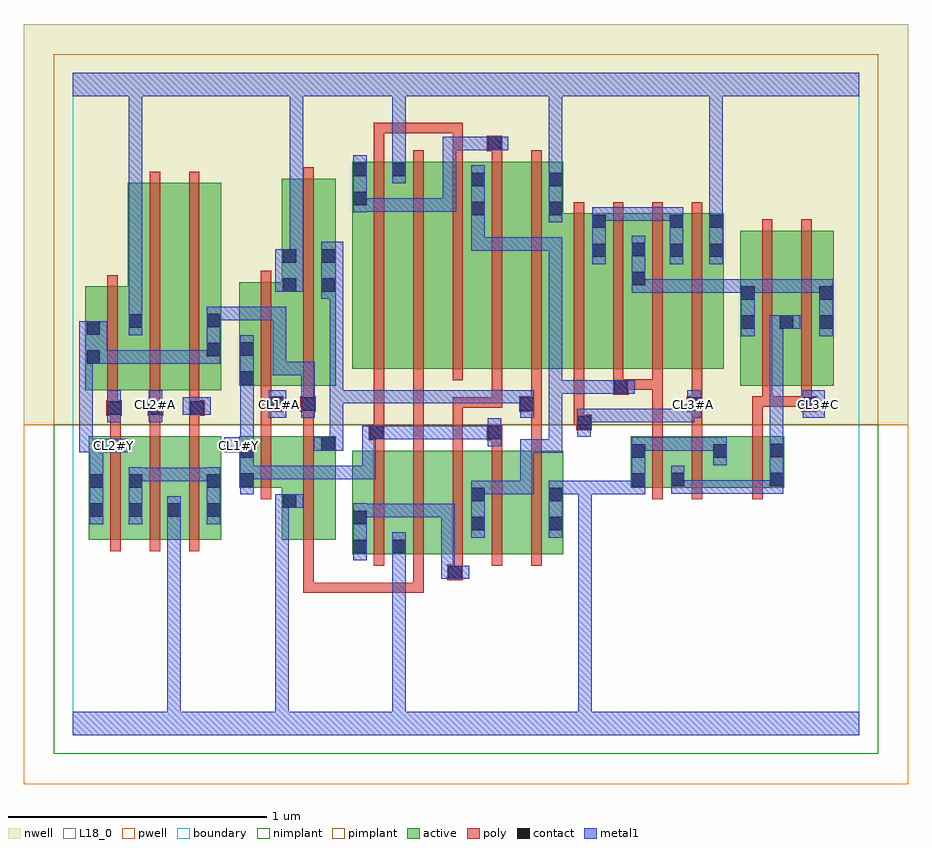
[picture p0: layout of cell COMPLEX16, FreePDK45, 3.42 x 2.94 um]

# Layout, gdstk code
import gdstk
lib = gdstk.Library(unit=1e-6, precision=1e-09)
def R(c, l, rs):  # rectangles x0, y0, x1, y1
    for r in rs: c.add(gdstk.rectangle(r[:2], r[2:], *l))
def A(c, l, x, y, w, h, nx, ny, dx, dy):  # array of equal rectangles
    R(c, l, [(x+i*dx, y+j*dy, x+i*dx+w, y+j*dy+h) for i in range(nx) for j in range(ny)])
active = (1, 0)
pwell = (2, 0)
nwell = (3, 0)
nimplant = (4, 0)
pimplant = (5, 0)
poly = (9, 0)
contact = (10, 0)
metal1 = (11, 0)
L18_0 = (18, 0)
boundary = (235, 0)

complex16 = lib.new_cell('COMPLEX16')
R(complex16, active, [(1.08,0.7,1.292,1.1), (1.08,0.7,1.14,0.948), (1.232,0.7,1.412,1.1), (1.232,0.7,1.292,0.96), (1.412,0.7,1.596,1.1), (1.536,0.7,1.716,1.1), (1.716,0.7,1.896,1.1), (0.062,0.756,0.274,1.156), (0.062,0.756,0.122,1.156), (0.214,0.756,0.274,1.156), (0.214,0.756,0.422,1.156), (0.362,0.756,0.574,1.156), (0.362,0.756,0.422,1.156), (0.514,0.756,0.574,1.156), (0.808,0.756,1.016,1.156), (0.956,0.756,1.016,1.156), (1.536,0.756,1.596,0.96), (1.836,0.756,1.896,1.1), (0.808,0.876,0.868,0.956), (0.644,0.956,0.704,1.156), (0.644,0.956,0.868,1.156), (2.156,0.956,2.216,1.156), (2.156,0.956,2.368,1.156), (2.308,0.956,2.368,1.156), (2.308,0.956,2.532,1.156), (2.472,0.956,2.532,1.156), (2.472,0.956,2.75,1.156), (2.69,0.956,2.75,1.156), (0.05,1.334,0.274,1.734), (0.05,1.334,0.11,1.644), (0.214,1.334,0.394,2.134), (0.394,1.334,0.574,2.134), (0.514,1.334,0.574,2.044), (0.644,1.35,0.868,1.75), (0.644,1.35,0.704,1.644), (0.808,1.35,1.016,2.15), (0.956,1.35,1.016,2.15), (2.58,1.35,2.64,1.844), (2.58,1.35,2.788,1.95), (2.728,1.35,2.94,1.95), (2.728,1.35,2.788,1.844), (2.88,1.35,2.94,1.95), (1.08,1.416,1.14,2.216), (1.08,1.416,1.292,2.216), (1.232,1.416,1.412,2.216), (1.412,1.416,1.596,2.216), (1.536,1.416,1.596,2.216), (1.536,1.416,1.716,2.216), (1.716,1.416,1.896,2.216), (1.836,1.416,2.064,2.016), (1.836,1.416,1.896,2.216), (2.004,1.416,2.064,2.016), (2.004,1.416,2.216,2.016), (2.156,1.416,2.364,2.016), (2.156,1.416,2.216,1.906), (2.304,1.416,2.364,2.016), (2.304,1.416,2.516,2.016), (2.456,1.416,2.516,2.016), (0.214,1.472,0.274,2.128), (0.808,1.472,0.868,2.15), (1.232,1.65,1.292,2.216)])
R(complex16, pwell, [(-0.188,-0.188,3.228,1.2)])
R(complex16, nwell, [(-0.188,1.2,3.228,2.748)])
R(complex16, nimplant, [(-0.072,-0.072,3.112,1.2)])
R(complex16, pimplant, [(-0.072,1.2,3.112,2.632)])
A(complex16, poly, 1.164, 0.656, 0.04, 0.488, 5, 1, 0.152, 0)
A(complex16, poly, 0.146, 0.712, 0.04, 0.488, 3, 1, 0.152, 0)
A(complex16, poly, 0.146, 1.16, 0.04, 0.114, 3, 1, 0.152, 0)
A(complex16, poly, 0.13, 1.234, 0.06, 0.06, 3, 1, 0.16, 0)
A(complex16, poly, 1.164, 1.372, 0.04, 0.888, 5, 1, 0.152, 0)
A(complex16, poly, 1.936, 1.372, 0.04, 0.688, 4, 1, 0.152, 0)
R(complex16, poly, [(0.892,0.55,0.932,0.59), (0.892,0.55,0.932,0.59), (0.892,0.55,0.932,0.59), (0.892,0.55,0.932,0.752), (0.892,0.55,1.038,0.59), (0.998,0.55,1.038,0.59), (0.998,0.55,1.204,0.59), (1.164,0.55,1.356,0.59), (1.164,0.55,1.204,0.59), (1.164,0.55,1.204,0.59), (1.164,0.55,1.204,0.59), (1.316,0.55,1.356,0.59), (1.316,0.55,1.356,0.696), (1.448,0.6,1.508,0.66), (1.468,0.62,1.508,0.696), (0.892,0.712,0.932,1.2), (0.728,0.912,0.768,1.2), (2.24,0.912,2.28,1.2), (2.392,0.912,2.432,1.2), (2.626,0.912,2.666,1.2), (1.164,1.104,1.204,1.18), (1.316,1.104,1.356,1.18), (1.468,1.104,1.508,1.306), (1.62,1.104,1.66,1.18), (1.772,1.104,1.812,1.29), (1.144,1.14,1.204,1.2), (1.316,1.14,1.356,1.18), (1.316,1.14,1.356,1.18), (1.316,1.14,1.356,1.18), (1.316,1.14,1.356,1.412), (1.6,1.14,1.66,1.2), (0.728,1.16,0.768,1.29), (0.892,1.16,0.932,1.29), (1.164,1.16,1.204,1.2), (1.164,1.16,1.204,1.2), (1.164,1.16,1.204,1.412), (2.24,1.16,2.28,1.376), (2.392,1.16,2.432,1.29), (2.626,1.16,2.666,1.31), (1.946,1.178,2.006,1.238), (1.936,1.198,1.976,1.412), (1.936,1.198,1.986,1.238), (1.946,1.198,1.986,1.238), (0.146,1.234,0.186,1.274), (0.146,1.234,0.186,1.274), (0.298,1.234,0.338,1.274), (0.298,1.234,0.338,1.274), (0.45,1.234,0.49,1.274), (0.45,1.234,0.49,1.274), (0.728,1.25,0.814,1.31), (0.88,1.25,0.94,1.31), (0.892,1.25,0.932,1.29), (0.892,1.25,0.932,1.29), (1.726,1.25,1.812,1.31), (1.772,1.25,1.812,1.29), (1.772,1.25,1.812,1.29), (2.372,1.25,2.432,1.31), (2.816,1.25,2.876,1.31), (0.134,1.254,0.174,1.33), (0.298,1.254,0.338,1.33), (0.45,1.254,0.49,1.33), (1.468,1.266,1.508,1.306), (1.468,1.266,1.522,1.306), (1.482,1.266,1.522,1.306), (1.482,1.266,1.522,1.306), (1.482,1.266,1.522,1.306), (1.482,1.266,1.66,1.306), (1.62,1.266,1.66,1.306), (1.62,1.266,1.66,1.412), (0.728,1.27,0.768,1.346), (0.728,1.27,0.768,1.31), (0.728,1.27,0.768,1.31), (0.892,1.27,0.932,1.346), (1.772,1.27,1.812,1.412), (2.392,1.27,2.432,1.31), (2.392,1.27,2.432,1.31), (2.392,1.27,2.432,1.412), (2.626,1.27,2.666,1.31), (2.626,1.27,2.666,1.31), (2.626,1.27,2.704,1.31), (2.664,1.27,2.704,1.346), (2.664,1.27,2.856,1.31), (2.664,1.27,2.704,1.31), (2.664,1.27,2.704,1.31), (2.816,1.27,2.856,1.346), (0.134,1.29,0.174,1.778), (0.298,1.29,0.338,2.178), (0.45,1.29,0.49,2.178), (0.728,1.306,0.768,1.794), (0.892,1.306,0.932,2.194), (2.664,1.306,2.704,1.994), (2.816,1.306,2.856,1.994), (2.088,1.316,2.148,1.376), (2.088,1.336,2.128,1.412), (2.108,1.336,2.28,1.376), (2.24,1.336,2.28,1.412), (2.24,1.336,2.28,1.376), (2.24,1.336,2.28,1.376), (2.24,1.336,2.28,1.376), (2.24,1.336,2.28,1.376), (2.24,1.336,2.28,1.376), (1.164,2.22,1.204,2.366), (1.468,2.22,1.508,2.366), (1.62,2.22,1.66,2.296), (1.6,2.256,1.66,2.316), (1.164,2.326,1.204,2.366), (1.164,2.326,1.31,2.366), (1.27,2.326,1.31,2.366), (1.27,2.326,1.31,2.366), (1.27,2.326,1.31,2.366), (1.27,2.326,1.416,2.366), (1.376,2.326,1.416,2.366), (1.376,2.326,1.508,2.366), (1.468,2.326,1.508,2.366)])
A(complex16, contact, 0.134, 1.238, 0.052, 0.052, 3, 1, 0.16, 0)
R(complex16, contact, [(1.452,0.604,1.504,0.656), (1.084,0.704,1.136,0.756), (1.236,0.704,1.288,0.756), (1.54,0.792,1.592,0.844), (1.84,0.792,1.892,0.844), (1.084,0.816,1.136,0.868), (0.066,0.844,0.118,0.896), (0.218,0.844,0.27,0.896), (0.366,0.844,0.418,0.896), (0.518,0.844,0.57,0.896), (0.812,0.88,0.864,0.932), (1.54,0.904,1.592,0.956), (1.84,0.904,1.892,0.956), (0.066,0.956,0.118,1.008), (0.218,0.956,0.27,1.008), (0.518,0.956,0.57,1.008), (0.648,0.96,0.7,1.012), (2.16,0.96,2.212,1.012), (2.312,0.962,2.364,1.014), (2.694,0.962,2.746,1.014), (0.648,1.072,0.7,1.124), (2.16,1.072,2.212,1.124), (2.476,1.072,2.528,1.124), (2.694,1.074,2.746,1.126), (0.96,1.1,1.012,1.152), (1.148,1.144,1.2,1.196), (1.604,1.144,1.656,1.196), (1.95,1.182,2.002,1.234), (0.758,1.254,0.81,1.306), (0.884,1.254,0.936,1.306), (1.73,1.254,1.782,1.306), (2.376,1.254,2.428,1.306), (2.82,1.254,2.872,1.306), (2.092,1.32,2.144,1.372), (0.648,1.354,0.7,1.406), (0.054,1.436,0.106,1.488), (0.518,1.464,0.57,1.516), (0.648,1.466,0.7,1.518), (0.054,1.548,0.106,1.6), (2.584,1.57,2.636,1.622), (2.732,1.57,2.784,1.622), (2.884,1.57,2.936,1.622), (0.218,1.574,0.27,1.626), (0.518,1.576,0.57,1.628), (2.584,1.682,2.636,1.734), (2.884,1.682,2.936,1.734), (0.812,1.714,0.864,1.766), (0.96,1.714,1.012,1.766), (2.16,1.738,2.212,1.79), (0.812,1.826,0.864,1.878), (0.96,1.826,1.012,1.878), (2.008,1.848,2.06,1.9), (2.308,1.848,2.36,1.9), (2.46,1.848,2.512,1.9), (2.16,1.85,2.212,1.902), (2.008,1.96,2.06,2.012), (2.308,1.96,2.36,2.012), (2.46,1.96,2.512,2.012), (1.54,2.01,1.592,2.062), (1.84,2.01,1.892,2.062), (1.084,2.048,1.136,2.1), (1.54,2.122,1.592,2.174), (1.84,2.122,1.892,2.174), (1.084,2.16,1.136,2.212), (1.236,2.16,1.288,2.212), (1.604,2.26,1.656,2.312)])
R(complex16, metal1, [(0,0,3.04,0.092), (0.366,0.04,0.418,0.092), (0.366,0.04,0.418,0.092), (0.366,0.04,0.418,0.092), (0.366,0.04,0.418,0.092), (0.366,0.04,0.418,0.092), (0.366,0.04,0.418,0.092), (0.366,0.04,0.418,0.092), (0.366,0.04,0.418,0.092), (0.366,0.04,0.418,0.092), (0.366,0.04,0.418,0.092), (0.366,0.04,0.418,0.092), (0.366,0.04,0.418,0.092), (0.366,0.04,0.418,0.868), (0.784,0.04,0.836,0.092), (0.784,0.04,0.836,0.092), (0.784,0.04,0.836,0.092), (0.784,0.04,0.836,0.092), (0.784,0.04,0.836,0.092), (0.784,0.04,0.836,0.092), (0.784,0.04,0.836,0.932), (1.236,0.04,1.288,0.092), (1.236,0.04,1.288,0.092), (1.236,0.04,1.288,0.092), (1.236,0.04,1.288,0.092), (1.236,0.04,1.288,0.092), (1.236,0.04,1.288,0.092), (1.236,0.04,1.288,0.092), (1.236,0.04,1.288,0.092), (1.236,0.04,1.288,0.092), (1.236,0.04,1.288,0.092), (1.236,0.04,1.288,0.092), (1.236,0.04,1.288,0.092), (1.236,0.04,1.288,0.728), (1.954,0.04,2.006,0.092), (1.954,0.04,2.006,0.092), (1.954,0.04,2.006,0.092), (1.954,0.04,2.006,0.092), (1.954,0.04,2.006,0.092), (1.954,0.04,2.006,0.092), (1.954,0.04,2.006,0.092), (1.954,0.04,2.006,0.092), (1.954,0.04,2.006,0.092), (1.954,0.04,2.006,0.092), (1.954,0.04,2.006,0.092), (1.954,0.04,2.006,0.092), (1.954,0.04,2.006,0.984), (1.424,0.604,1.476,0.656), (1.424,0.604,1.476,0.656), (1.424,0.604,1.532,0.656), (1.424,0.604,1.476,0.894), (1.084,0.676,1.136,0.896), (1.236,0.676,1.288,0.784), (1.54,0.764,1.592,0.984), (1.84,0.764,1.892,0.984), (0.066,0.816,0.118,1.036), (0.218,0.816,0.27,1.036), (0.366,0.816,0.418,0.924), (0.518,0.816,0.57,1.036), (1.084,0.842,1.156,0.894), (1.104,0.842,1.156,0.894), (1.104,0.842,1.338,0.894), (1.286,0.842,1.338,0.894), (1.286,0.842,1.338,0.894), (1.286,0.842,1.338,0.894), (1.286,0.842,1.476,0.894), (1.424,0.842,1.476,0.894), (1.424,0.842,1.476,0.894), (1.424,0.842,1.476,0.894), (0.784,0.88,0.836,0.932), (0.784,0.88,0.836,0.932), (0.784,0.88,0.836,0.932), (0.784,0.88,0.836,0.932), (0.784,0.88,0.836,0.932), (0.784,0.88,0.836,0.932), (0.784,0.88,0.892,0.932), (0.648,0.932,0.7,1.152), (1.54,0.932,1.592,0.984), (1.54,0.932,1.592,0.984), (1.54,0.932,1.782,0.984), (1.73,0.932,1.782,0.984), (1.73,0.932,1.782,1.144), (1.84,0.932,2.006,0.984), (1.954,0.932,2.006,0.984), (1.954,0.932,2.006,0.984), (1.954,0.932,2.006,0.984), (1.954,0.932,2.006,0.984), (1.954,0.932,2.006,0.984), (1.954,0.932,2.006,0.984), (1.954,0.932,2.006,0.984), (1.954,0.932,2.006,0.984), (1.954,0.932,2.006,0.984), (1.954,0.932,2.17,0.984), (2.118,0.932,2.17,0.984), (2.118,0.932,2.212,0.984), (2.16,0.932,2.212,1.152), (2.312,0.934,2.364,1.042), (2.312,0.934,2.414,0.986), (2.362,0.934,2.414,0.986), (2.362,0.934,2.636,0.986), (2.584,0.934,2.636,0.986), (2.584,0.934,2.636,0.986), (2.584,0.934,2.636,0.986), (2.584,0.934,2.636,0.986), (2.584,0.934,2.636,0.986), (2.584,0.934,2.746,0.986), (2.694,0.934,2.746,0.986), (2.694,0.934,2.746,0.986), (2.694,0.934,2.746,1.154), (0.218,0.982,0.27,1.034), (0.218,0.982,0.27,1.034), (0.218,0.982,0.46,1.034), (0.408,0.982,0.46,1.034), (0.408,0.982,0.46,1.034), (0.408,0.982,0.46,1.034), (0.408,0.982,0.57,1.034), (0.066,0.984,0.118,1.146), (0.648,0.99,0.7,1.042), (0.648,0.99,0.7,1.042), (0.648,0.99,0.874,1.042), (0.822,0.99,0.874,1.042), (0.822,0.99,0.874,1.042), (0.822,0.99,0.874,1.042), (0.822,0.99,1.026,1.042), (0.974,0.99,1.026,1.042), (0.974,0.99,1.026,1.042), (0.974,0.99,1.026,1.042), (0.974,0.99,1.172,1.042), (1.12,0.99,1.172,1.042), (1.12,0.99,1.172,1.196), (2.476,1.044,2.528,1.152), (1.73,1.092,1.782,1.144), (1.73,1.092,1.782,1.144), (1.73,1.092,1.782,1.144), (1.73,1.092,1.892,1.144), (1.84,1.092,1.892,1.144), (1.84,1.092,1.892,1.372), (0.026,1.094,0.078,1.488), (0.026,1.094,0.214,1.146), (0.586,1.094,0.7,1.152), (0.648,1.1,0.7,1.152), (0.648,1.1,0.7,1.378), (0.932,1.1,1.046,1.152), (0.994,1.1,1.046,1.334), (2.16,1.1,2.28,1.152), (2.228,1.1,2.28,1.152), (2.228,1.1,2.39,1.152), (2.338,1.1,2.39,1.152), (2.338,1.1,2.39,1.152), (2.338,1.1,2.39,1.152), (2.338,1.1,2.528,1.152), (2.694,1.102,2.746,1.278), (1.604,1.116,1.656,1.224), (1.12,1.144,1.172,1.196), (1.12,1.144,1.172,1.196), (1.12,1.144,1.172,1.196), (1.12,1.144,1.172,1.196), (1.12,1.144,1.228,1.196), (1.176,1.144,1.366,1.196), (1.314,1.144,1.366,1.196), (1.314,1.144,1.366,1.196), (1.314,1.144,1.366,1.196), (1.314,1.144,1.476,1.196), (1.424,1.144,1.476,1.196), (1.424,1.144,1.476,1.196), (1.424,1.144,1.476,1.196), (1.424,1.144,1.656,1.196), (1.604,1.144,1.656,1.196), (1.604,1.144,1.656,1.196), (1.95,1.154,2.002,1.262), (0.134,1.21,0.186,1.334), (0.294,1.21,0.346,1.334), (1.95,1.21,2.002,1.262), (1.95,1.21,2.002,1.262), (1.95,1.21,2.17,1.262), (2.118,1.21,2.17,1.262), (2.118,1.21,2.17,1.262), (2.118,1.21,2.17,1.262), (2.118,1.21,2.28,1.262), (2.228,1.21,2.28,1.262), (2.228,1.21,2.402,1.262), (2.35,1.21,2.402,1.278), (0.758,1.226,0.826,1.334), (0.884,1.226,0.936,1.444), (1.73,1.226,1.782,1.334), (2.35,1.226,2.426,1.278), (2.374,1.226,2.428,1.334), (2.694,1.226,2.746,1.334), (2.82,1.226,2.906,1.334), (0.426,1.238,0.534,1.306), (0.994,1.282,1.046,1.334), (0.994,1.282,1.046,1.334), (0.994,1.282,1.046,1.334), (0.994,1.282,1.156,1.334), (0.994,1.282,1.046,1.738), (1.104,1.282,1.156,1.334), (1.104,1.282,1.156,1.334), (1.104,1.282,1.156,1.334), (1.104,1.282,1.338,1.334), (1.286,1.282,1.338,1.334), (1.286,1.282,1.338,1.334), (1.286,1.282,1.338,1.334), (1.286,1.282,1.482,1.334), (1.43,1.282,1.482,1.334), (1.43,1.282,1.482,1.334), (1.43,1.282,1.482,1.334), (1.43,1.282,1.592,1.334), (1.54,1.282,1.592,1.334), (1.54,1.282,1.592,1.334), (1.54,1.282,1.592,1.334), (1.54,1.282,1.782,1.334), (1.73,1.282,1.782,1.334), (1.73,1.282,1.782,1.334), (2.694,1.282,2.746,1.622), (1.84,1.32,1.892,1.372), (1.84,1.32,1.892,1.372), (1.84,1.32,1.892,1.372), (1.84,1.32,2.06,1.372), (1.84,1.32,1.892,1.924), (2.008,1.32,2.06,1.372), (2.008,1.32,2.116,1.372), (2.064,1.32,2.172,1.372), (0.648,1.326,0.7,1.378), (0.648,1.326,0.7,1.378), (0.648,1.326,0.7,1.546), (0.774,1.392,0.826,1.444), (0.774,1.392,0.936,1.444), (0.774,1.392,0.826,1.656), (0.026,1.436,0.078,1.488), (0.026,1.436,0.078,1.488), (0.026,1.436,0.134,1.6), (0.082,1.436,0.134,1.488), (0.082,1.436,0.134,1.488), (0.082,1.436,0.308,1.488), (0.256,1.436,0.308,1.488), (0.256,1.436,0.308,1.488), (0.256,1.436,0.308,1.488), (0.256,1.436,0.418,1.488), (0.366,1.436,0.418,1.488), (0.366,1.436,0.418,1.488), (0.366,1.436,0.418,1.488), (0.366,1.436,0.57,1.488), (0.518,1.436,0.57,1.656), (2.584,1.542,2.636,1.762), (2.884,1.542,2.936,1.762), (0.218,1.546,0.27,1.654), (2.694,1.57,2.756,1.622), (2.704,1.57,2.756,1.622), (2.704,1.57,2.812,1.622), (0.218,1.602,0.27,2.52), (0.518,1.604,0.57,1.656), (0.518,1.604,0.57,1.656), (0.518,1.604,0.57,1.656), (0.518,1.604,0.57,1.656), (0.518,1.604,0.826,1.656), (0.774,1.604,0.826,1.656), (0.774,1.604,0.826,1.656), (0.774,1.604,0.826,1.656), (0.774,1.604,0.826,1.656), (0.774,1.604,0.826,1.656), (0.96,1.686,1.046,1.906), (2.16,1.71,2.212,1.93), (2.16,1.71,2.28,1.762), (2.228,1.71,2.28,1.762), (2.228,1.71,2.402,1.762), (2.35,1.71,2.402,1.762), (2.35,1.71,2.402,1.762), (2.35,1.71,2.402,1.762), (2.35,1.71,2.636,1.762), (2.584,1.71,2.636,1.762), (2.584,1.71,2.636,1.762), (2.584,1.71,2.636,1.762), (2.584,1.71,2.636,1.762), (2.584,1.71,2.762,1.762), (2.71,1.71,2.762,1.762), (2.71,1.71,2.762,1.762), (2.71,1.71,2.762,1.762), (2.71,1.71,2.936,1.762), (2.884,1.71,2.936,1.762), (2.884,1.71,2.936,1.762), (0.784,1.714,0.892,1.878), (2.008,1.82,2.06,2.04), (2.308,1.82,2.36,2.04), (2.46,1.82,2.512,2.04), (0.84,1.826,0.892,1.878), (0.84,1.826,0.892,1.878), (0.84,1.826,0.892,1.878), (0.84,1.826,0.892,1.878), (0.84,1.826,0.892,2.52), (1.54,1.872,1.782,1.924), (1.54,1.872,1.592,2.034), (1.73,1.872,1.782,1.924), (1.73,1.872,1.782,1.924), (1.73,1.872,1.782,1.924), (1.73,1.872,1.892,1.924), (1.84,1.872,1.892,1.924), (1.54,1.982,1.592,2.034), (1.54,1.982,1.592,2.202), (1.84,1.982,1.892,2.202), (2.008,1.988,2.17,2.04), (2.118,1.988,2.17,2.04), (2.118,1.988,2.17,2.04), (2.118,1.988,2.17,2.04), (2.118,1.988,2.28,2.04), (2.228,1.988,2.28,2.04), (2.228,1.988,2.36,2.04), (2.46,1.988,2.512,2.04), (2.46,1.988,2.512,2.04), (2.46,1.988,2.512,2.52), (1.084,2.02,1.136,2.24), (1.084,2.022,1.156,2.074), (1.104,2.022,1.156,2.074), (1.104,2.022,1.338,2.074), (1.286,2.022,1.338,2.074), (1.286,2.022,1.338,2.074), (1.286,2.022,1.338,2.074), (1.286,2.022,1.482,2.074), (1.43,2.022,1.482,2.074), (1.43,2.022,1.482,2.312), (1.236,2.132,1.288,2.24), (1.84,2.15,1.892,2.202), (1.84,2.15,1.892,2.202), (1.84,2.15,1.892,2.202), (1.84,2.15,1.892,2.202), (1.84,2.15,1.892,2.202), (1.84,2.15,1.892,2.202), (1.84,2.15,1.892,2.202), (1.84,2.15,1.892,2.202), (1.84,2.15,1.892,2.52), (1.236,2.188,1.288,2.24), (1.236,2.188,1.288,2.24), (1.236,2.188,1.288,2.52), (1.43,2.26,1.482,2.312), (1.43,2.26,1.482,2.312), (1.43,2.26,1.482,2.312), (1.43,2.26,1.628,2.312), (1.576,2.26,1.628,2.312), (1.576,2.26,1.628,2.312), (1.576,2.26,1.628,2.312), (1.576,2.26,1.628,2.312), (1.576,2.26,1.684,2.312), (0,2.468,3.04,2.56), (0.218,2.468,0.27,2.52), (0.218,2.468,0.27,2.52), (0.218,2.468,0.27,2.52), (0.218,2.468,0.27,2.52), (0.218,2.468,0.27,2.52), (0.218,2.468,0.27,2.52), (0.218,2.468,0.27,2.52), (0.218,2.468,0.27,2.52), (0.84,2.468,0.892,2.52), (0.84,2.468,0.892,2.52), (0.84,2.468,0.892,2.52), (0.84,2.468,0.892,2.52), (1.236,2.468,1.288,2.52), (1.236,2.468,1.288,2.52), (1.236,2.468,1.288,2.52), (1.236,2.468,1.288,2.52), (1.236,2.468,1.288,2.52), (1.236,2.468,1.288,2.52), (2.46,2.468,2.512,2.52), (2.46,2.468,2.512,2.52), (2.46,2.468,2.512,2.52), (2.46,2.468,2.512,2.52), (2.46,2.468,2.512,2.52), (2.46,2.468,2.512,2.52), (2.46,2.468,2.512,2.52), (2.46,2.468,2.512,2.52), (2.46,2.468,2.512,2.52), (2.46,2.468,2.512,2.52)])
A(complex16, L18_0, 0.134, 1.254, 0.052, 0.052, 3, 1, 0.16, 0)
R(complex16, L18_0, [(0,0,3.04,0.092), (0.366,0.04,0.418,0.092), (0.366,0.04,0.418,0.092), (0.366,0.04,0.418,0.092), (0.366,0.04,0.418,0.092), (0.366,0.04,0.418,0.092), (0.366,0.04,0.418,0.092), (0.366,0.04,0.418,0.092), (0.366,0.04,0.418,0.092), (0.366,0.04,0.418,0.092), (0.366,0.04,0.418,0.092), (0.366,0.04,0.418,0.092), (0.366,0.04,0.418,0.092), (0.366,0.04,0.418,0.868), (0.784,0.04,0.836,0.092), (0.784,0.04,0.836,0.092), (0.784,0.04,0.836,0.092), (0.784,0.04,0.836,0.092), (0.784,0.04,0.836,0.092), (0.784,0.04,0.836,0.092), (0.784,0.04,0.836,0.932), (1.236,0.04,1.288,0.092), (1.236,0.04,1.288,0.092), (1.236,0.04,1.288,0.092), (1.236,0.04,1.288,0.092), (1.236,0.04,1.288,0.092), (1.236,0.04,1.288,0.092), (1.236,0.04,1.288,0.092), (1.236,0.04,1.288,0.092), (1.236,0.04,1.288,0.092), (1.236,0.04,1.288,0.092), (1.236,0.04,1.288,0.092), (1.236,0.04,1.288,0.092), (1.236,0.04,1.288,0.728), (1.954,0.04,2.006,0.092), (1.954,0.04,2.006,0.092), (1.954,0.04,2.006,0.092), (1.954,0.04,2.006,0.092), (1.954,0.04,2.006,0.092), (1.954,0.04,2.006,0.092), (1.954,0.04,2.006,0.092), (1.954,0.04,2.006,0.092), (1.954,0.04,2.006,0.092), (1.954,0.04,2.006,0.092), (1.954,0.04,2.006,0.092), (1.954,0.04,2.006,0.092), (1.954,0.04,2.006,0.984), (1.236,0.676,1.288,0.784), (1.84,0.764,1.892,0.984), (0.066,0.816,0.118,1.036), (0.366,0.816,0.418,0.924), (0.784,0.88,0.836,0.932), (0.784,0.88,0.836,0.932), (0.784,0.88,0.836,0.932), (0.784,0.88,0.836,0.932), (0.784,0.88,0.836,0.932), (0.784,0.88,0.836,0.932), (0.784,0.88,0.892,0.932), (0.648,0.932,0.7,1.152), (1.84,0.932,2.006,0.984), (1.954,0.932,2.006,0.984), (1.954,0.932,2.006,0.984), (1.954,0.932,2.006,0.984), (1.954,0.932,2.006,0.984), (1.954,0.932,2.006,0.984), (1.954,0.932,2.006,0.984), (1.954,0.932,2.006,0.984), (1.954,0.932,2.006,0.984), (1.954,0.932,2.006,0.984), (1.954,0.932,2.17,0.984), (2.118,0.932,2.17,0.984), (2.118,0.932,2.212,0.984), (2.16,0.932,2.212,1.152), (2.312,0.934,2.364,1.042), (2.312,0.934,2.414,0.986), (2.362,0.934,2.414,0.986), (2.362,0.934,2.636,0.986), (2.584,0.934,2.636,0.986), (2.584,0.934,2.636,0.986), (2.584,0.934,2.636,0.986), (2.584,0.934,2.636,0.986), (2.584,0.934,2.636,0.986), (2.584,0.934,2.746,0.986), (2.694,0.934,2.746,1.154), (2.694,0.934,2.746,0.986), (2.694,0.934,2.746,0.986), (0.066,0.984,0.118,1.146), (0.648,0.99,0.7,1.042), (0.648,0.99,0.7,1.042), (0.648,0.99,0.874,1.042), (0.822,0.99,0.874,1.042), (0.822,0.99,0.874,1.042), (0.822,0.99,0.874,1.042), (0.822,0.99,1.026,1.042), (0.974,0.99,1.026,1.042), (0.974,0.99,1.026,1.042), (0.974,0.99,1.026,1.042), (0.974,0.99,1.172,1.042), (1.12,0.99,1.172,1.042), (1.12,0.99,1.172,1.196), (2.476,1.044,2.528,1.152), (0.026,1.094,0.214,1.146), (0.026,1.094,0.078,1.488), (0.134,1.094,0.186,1.146), (0.586,1.094,0.7,1.152), (0.614,1.094,0.666,1.146), (0.648,1.1,0.7,1.152), (0.648,1.1,0.7,1.378), (2.16,1.1,2.28,1.152), (2.228,1.1,2.28,1.152), (2.228,1.1,2.39,1.152), (2.338,1.1,2.39,1.152), (2.338,1.1,2.39,1.152), (2.338,1.1,2.39,1.152), (2.338,1.1,2.528,1.152), (2.694,1.102,2.746,1.278), (1.604,1.116,1.656,1.224), (1.12,1.144,1.172,1.196), (1.12,1.144,1.172,1.196), (1.12,1.144,1.172,1.196), (1.12,1.144,1.172,1.196), (1.12,1.144,1.228,1.196), (1.176,1.144,1.366,1.196), (1.314,1.144,1.366,1.196), (1.314,1.144,1.366,1.196), (1.314,1.144,1.366,1.196), (1.314,1.144,1.476,1.196), (1.424,1.144,1.476,1.196), (1.424,1.144,1.476,1.196), (1.424,1.144,1.476,1.196), (1.424,1.144,1.656,1.196), (1.604,1.144,1.656,1.196), (1.604,1.144,1.656,1.196), (1.95,1.154,2.002,1.262), (0.134,1.21,0.186,1.334), (0.294,1.21,0.346,1.334), (1.95,1.21,2.002,1.262), (1.95,1.21,2.002,1.262), (1.95,1.21,2.17,1.262), (2.118,1.21,2.17,1.262), (2.118,1.21,2.17,1.262), (2.118,1.21,2.17,1.262), (2.118,1.21,2.28,1.262), (2.228,1.21,2.28,1.262), (2.228,1.21,2.402,1.262), (2.35,1.21,2.402,1.278), (0.758,1.226,0.826,1.334), (0.884,1.226,0.936,1.444), (2.35,1.226,2.426,1.278), (2.374,1.226,2.428,1.334), (2.694,1.226,2.746,1.334), (2.82,1.226,2.906,1.334), (0.426,1.238,0.534,1.306), (0.774,1.254,0.826,1.306), (2.374,1.254,2.426,1.306), (2.694,1.254,2.746,1.306), (2.854,1.254,2.906,1.306), (2.694,1.282,2.746,1.622), (0.648,1.326,0.7,1.546), (0.648,1.326,0.7,1.378), (0.648,1.326,0.7,1.378), (0.774,1.392,0.826,1.444), (0.774,1.392,0.936,1.444), (0.774,1.392,0.826,1.656), (0.026,1.436,0.078,1.488), (0.026,1.436,0.078,1.488), (0.026,1.436,0.134,1.6), (0.082,1.436,0.134,1.488), (0.082,1.436,0.134,1.488), (0.082,1.436,0.308,1.488), (0.256,1.436,0.308,1.488), (0.256,1.436,0.308,1.488), (0.256,1.436,0.308,1.488), (0.256,1.436,0.418,1.488), (0.366,1.436,0.418,1.488), (0.366,1.436,0.418,1.488), (0.366,1.436,0.418,1.488), (0.366,1.436,0.57,1.488), (0.518,1.436,0.57,1.656), (0.218,1.546,0.27,1.654), (2.694,1.57,2.756,1.622), (2.704,1.57,2.756,1.622), (2.704,1.57,2.812,1.622), (0.218,1.602,0.27,2.52), (0.518,1.604,0.57,1.656), (0.518,1.604,0.57,1.656), (0.518,1.604,0.57,1.656), (0.518,1.604,0.57,1.656), (0.518,1.604,0.826,1.656), (0.774,1.604,0.826,1.656), (0.774,1.604,0.826,1.656), (0.774,1.604,0.826,1.656), (0.774,1.604,0.826,1.656), (0.774,1.604,0.826,1.656), (0.784,1.714,0.892,1.878), (2.46,1.82,2.512,2.04), (0.84,1.826,0.892,1.878), (0.84,1.826,0.892,1.878), (0.84,1.826,0.892,1.878), (0.84,1.826,0.892,1.878), (0.84,1.826,0.892,2.52), (1.84,1.982,1.892,2.202), (2.46,1.988,2.512,2.04), (2.46,1.988,2.512,2.04), (2.46,1.988,2.512,2.52), (1.236,2.132,1.288,2.24), (1.84,2.15,1.892,2.202), (1.84,2.15,1.892,2.202), (1.84,2.15,1.892,2.202), (1.84,2.15,1.892,2.202), (1.84,2.15,1.892,2.202), (1.84,2.15,1.892,2.202), (1.84,2.15,1.892,2.202), (1.84,2.15,1.892,2.202), (1.84,2.15,1.892,2.52), (1.236,2.188,1.288,2.24), (1.236,2.188,1.288,2.24), (1.236,2.188,1.288,2.52), (0,2.468,3.04,2.56), (0.218,2.468,0.27,2.52), (0.218,2.468,0.27,2.52), (0.218,2.468,0.27,2.52), (0.218,2.468,0.27,2.52), (0.218,2.468,0.27,2.52), (0.218,2.468,0.27,2.52), (0.218,2.468,0.27,2.52), (0.218,2.468,0.27,2.52), (0.84,2.468,0.892,2.52), (0.84,2.468,0.892,2.52), (0.84,2.468,0.892,2.52), (0.84,2.468,0.892,2.52), (1.236,2.468,1.288,2.52), (1.236,2.468,1.288,2.52), (1.236,2.468,1.288,2.52), (1.236,2.468,1.288,2.52), (1.236,2.468,1.288,2.52), (1.236,2.468,1.288,2.52), (2.46,2.468,2.512,2.52), (2.46,2.468,2.512,2.52), (2.46,2.468,2.512,2.52), (2.46,2.468,2.512,2.52), (2.46,2.468,2.512,2.52), (2.46,2.468,2.512,2.52), (2.46,2.468,2.512,2.52), (2.46,2.468,2.512,2.52), (2.46,2.468,2.512,2.52), (2.46,2.468,2.512,2.52)])
R(complex16, boundary, [(0,0,3.04,2.56)])
complex16.add(gdstk.Label('CL1#A', (0.8,1.28), layer=11, texttype=0))
complex16.add(gdstk.Label('CL1#Y', (0.64,1.12), layer=11, texttype=0))
complex16.add(gdstk.Label('CL2#A', (0.32,1.28), layer=11, texttype=0))
complex16.add(gdstk.Label('CL2#B', (0.48,1.28), layer=11, texttype=0))
complex16.add(gdstk.Label('CL2#C', (0.16,1.28), layer=11, texttype=0))
complex16.add(gdstk.Label('CL2#Y', (0.16,1.12), layer=11, texttype=0))
complex16.add(gdstk.Label('CL3#A', (2.4,1.28), layer=11, texttype=0))
complex16.add(gdstk.Label('CL3#C', (2.88,1.28), layer=11, texttype=0))
complex16.add(gdstk.Label('CL3#Y', (2.72,1.28), layer=11, texttype=0))

lib.write_gds('COMPLEX16.gds')
